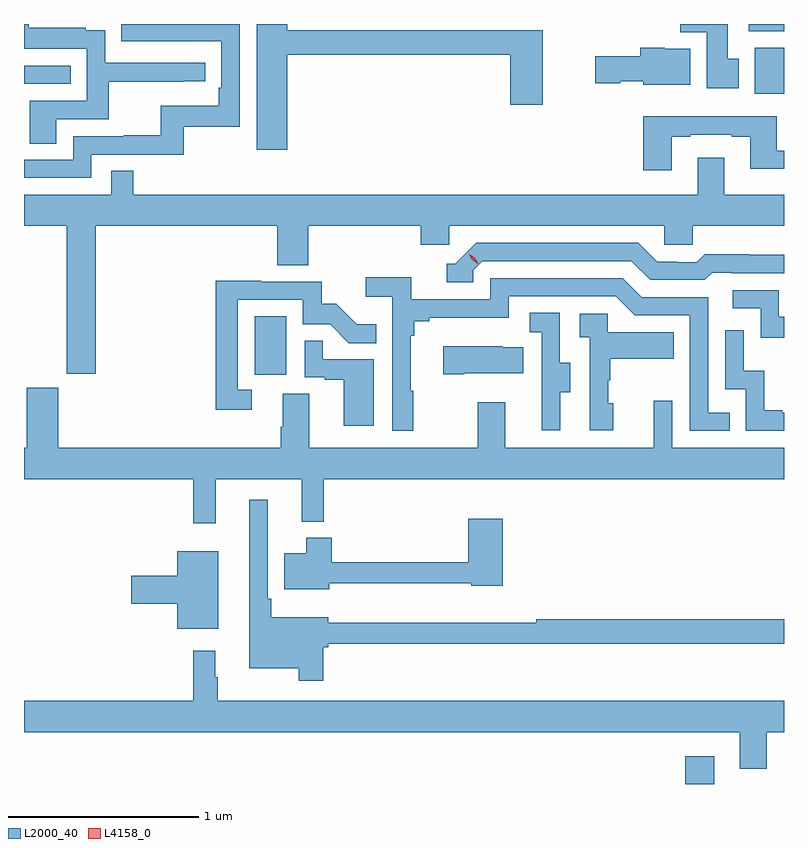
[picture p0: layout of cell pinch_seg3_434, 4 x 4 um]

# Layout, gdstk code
import gdstk
lib = gdstk.Library(unit=1e-6, precision=1e-09)
def R(c, l, rs):  # rectangles x0, y0, x1, y1
    for r in rs: c.add(gdstk.rectangle(r[:2], r[2:], *l))
def P(c, l, *ps):  # polygons
    for p in ps: c.add(gdstk.Polygon(p, *l))
L2000_40 = (2000, 40)
L4158_0 = (4158, 0)

pinch_seg3_434 = lib.new_cell('pinch_seg3_434')
R(pinch_seg3_434, L2000_40, [(952.133,679.331,952.285,679.477), (949.868,681.486,950.032,681.793), (952.499,682.964,952.653,683.206), (948.653,683.016,948.899,683.112), (952.467,683.294,952.653,683.331)])
P(pinch_seg3_434, L2000_40, [(952.414,683.148),(952.357,683.148),(952.357,683.331),(952.108,683.331),(952.108,683.288),(952.247,683.288),(952.247,682.992),(952.414,682.992)],
  [(950.038,683.17),(951.212,683.17),(951.212,682.905),(951.382,682.905),(951.382,683.299),(950.038,683.299),(950.038,683.331),(949.877,683.331),(949.877,682.668),(950.038,682.668)],
  [(948.823,682.83),(949.1,682.83),(949.1,683.026),(949.493,683.026),(949.493,683.031),(949.606,683.031),(949.606,683.127),(949.08,683.127),(949.08,683.299),(948.977,683.299),(948.977,683.311),(948.679,683.311),(948.679,683.331),(948.653,683.331),(948.653,683.202),(948.984,683.202),(948.984,682.926),(948.683,682.926),(948.683,682.702),(948.823,682.702)],
  [(949.008,682.644),(949.495,682.644),(949.495,682.791),(949.788,682.791),(949.788,683.331),(949.165,683.331),(949.165,683.24),(949.379,683.24),(949.379,683.241),(949.692,683.241),(949.692,682.996),(949.679,682.996),(949.679,682.9),(949.374,682.9),(949.374,682.745),(949.177,682.745),(949.177,682.74),(948.912,682.74),(948.912,682.617),(948.653,682.617),(948.653,682.521),(949.008,682.521)],
  [(952.159,683.2),(952.026,683.2),(952.026,683.206),(951.896,683.206),(951.896,683.16),(951.66,683.16),(951.66,683.018),(951.792,683.018),(951.792,683.03),(951.912,683.03),(951.912,683.012),(952.159,683.012)],
  [(952.063,682.737),(952.159,682.737),(952.159,682.749),(952.379,682.749),(952.379,682.737),(952.475,682.737),(952.475,682.568),(952.653,682.568),(952.653,682.665),(952.615,682.665),(952.615,682.846),(951.911,682.846),(951.911,682.56),(952.063,682.56)],
  [(949.031,682.268),(949.985,682.268),(949.985,682.06),(950.15,682.06),(950.15,682.268),(950.741,682.268),(950.741,682.17),(950.892,682.17),(950.892,682.268),(952.023,682.268),(952.023,682.17),(952.173,682.17),(952.173,682.268),(952.653,682.268),(952.653,682.432),(952.339,682.432),(952.339,682.627),(952.199,682.627),(952.199,682.432),(949.229,682.432),(949.229,682.559),(949.113,682.559),(949.113,682.432),(948.653,682.432),(948.653,682.268),(948.878,682.268),(948.878,681.489),(949.031,681.489)],
  [(951.018,682.035),(951.066,682.083),(951.849,682.083),(951.948,681.984),(952.237,681.984),(952.276,682.023),(952.375,682.023),(952.375,682.02),(952.653,682.02),(952.653,682.117),(952.47,682.117),(952.47,682.12),(952.237,682.12),(952.195,682.077),(952.092,682.077),(952.092,682.08),(951.985,682.08),(951.886,682.179),(951.033,682.179),(950.922,682.068),(950.879,682.068),(950.879,681.972),(951.018,681.972)],
  [(950.701,681.401),(950.689,681.401),(950.689,681.689),(950.708,681.689),(950.708,681.766),(950.785,681.766),(950.785,681.785),(951.204,681.785),(951.204,681.897),(951.768,681.897),(951.867,681.798),(952.158,681.798),(952.158,681.189),(952.367,681.189),(952.367,681.285),(952.254,681.285),(952.254,681.894),(951.904,681.894),(951.805,681.993),(951.108,681.993),(951.108,681.882),(950.69,681.882),(950.69,681.998),(950.451,681.998),(950.451,681.896),(950.592,681.896),(950.592,681.189),(950.701,681.189)],
  [(949.852,681.405),(949.779,681.405),(949.779,681.879),(950.121,681.879),(950.121,681.75),(950.265,681.75),(950.363,681.652),(950.507,681.652),(950.507,681.751),(950.403,681.751),(950.296,681.858),(950.22,681.858),(950.22,681.975),(949.901,681.975),(949.901,681.98),(949.663,681.98),(949.663,681.3),(949.852,681.3)],
  [(952.653,681.789),(952.626,681.789),(952.626,681.93),(952.383,681.93),(952.383,681.834),(952.53,681.834),(952.53,681.681),(952.653,681.681)],
  [(951.475,681.394),(951.529,681.394),(951.529,681.549),(951.474,681.549),(951.474,681.812),(951.315,681.812),(951.315,681.709),(951.378,681.709),(951.378,681.405),(951.377,681.405),(951.377,681.192),(951.475,681.192)],
  [(951.754,681.336),(951.729,681.336),(951.729,681.455),(951.739,681.455),(951.739,681.569),(952.073,681.569),(952.073,681.709),(951.726,681.709),(951.726,681.807),(951.579,681.807),(951.579,681.683),(951.63,681.683),(951.63,681.192),(951.754,681.192)],
  [(952.653,681.285),(952.645,681.285),(952.645,681.298),(952.55,681.298),(952.55,681.506),(952.44,681.506),(952.44,681.718),(952.344,681.718),(952.344,681.408),(952.452,681.408),(952.452,681.189),(952.653,681.189)],
  [(950.494,681.567),(950.225,681.567),(950.225,681.665),(950.13,681.665),(950.13,681.471),(950.237,681.471),(950.237,681.459),(950.336,681.459),(950.336,681.216),(950.494,681.216)],
  [(950.971,681.494),(951.281,681.494),(951.281,681.631),(951.173,681.631),(951.173,681.634),(950.859,681.634),(950.859,681.487),(950.971,681.487)],
  [(949.661,680.936),(950.114,680.936),(950.114,680.711),(950.231,680.711),(950.231,680.936),(952.653,680.936),(952.653,681.1),(952.065,681.1),(952.065,681.349),(951.968,681.349),(951.968,681.1),(951.187,681.1),(951.187,681.34),(951.04,681.34),(951.04,681.1),(950.155,681.1),(950.155,681.386),(950.015,681.386),(950.015,681.212),(950.003,681.212),(950.003,681.1),(948.832,681.1),(948.832,681.417),(948.668,681.417),(948.668,681.1),(948.653,681.1),(948.653,680.936),(949.543,680.936),(949.543,680.703),(949.661,680.703)],
  [(950.228,680.051),(950.254,680.051),(950.254,680.07),(952.653,680.07),(952.653,680.198),(951.35,680.198),(951.35,680.18),(950.254,680.18),(950.254,680.209),(949.955,680.209),(949.955,680.305),(949.935,680.305),(949.935,680.827),(949.838,680.827),(949.838,679.94),(950.1,679.94),(950.1,679.875),(950.228,679.875)],
  [(950.26,680.387),(951.006,680.387),(951.006,680.375),(951.173,680.375),(951.173,680.728),(950.99,680.728),(950.99,680.497),(950.273,680.497),(950.273,680.626),(950.138,680.626),(950.138,680.545),(950.024,680.545),(950.024,680.357),(950.26,680.357)],
  [(949.675,680.557),(949.46,680.557),(949.46,680.426),(949.218,680.426),(949.218,680.279),(949.46,680.279),(949.46,680.147),(949.675,680.147)],
  [(952.561,679.604),(952.653,679.604),(952.653,679.768),(949.672,679.768),(949.672,679.892),(949.66,679.892),(949.66,680.032),(949.543,680.032),(949.543,679.768),(948.653,679.768),(948.653,679.604),(952.421,679.604),(952.421,679.41),(952.561,679.41)])
P(pinch_seg3_434, L4158_0, [(951.042,682.069),(951.011,682.089),(950.995,682.122),(950.995,682.122),(950.995,682.122),(951.026,682.102),(951.043,682.069),(951.043,682.069)])

lib.write_gds('pinch_seg3_434.gds')
